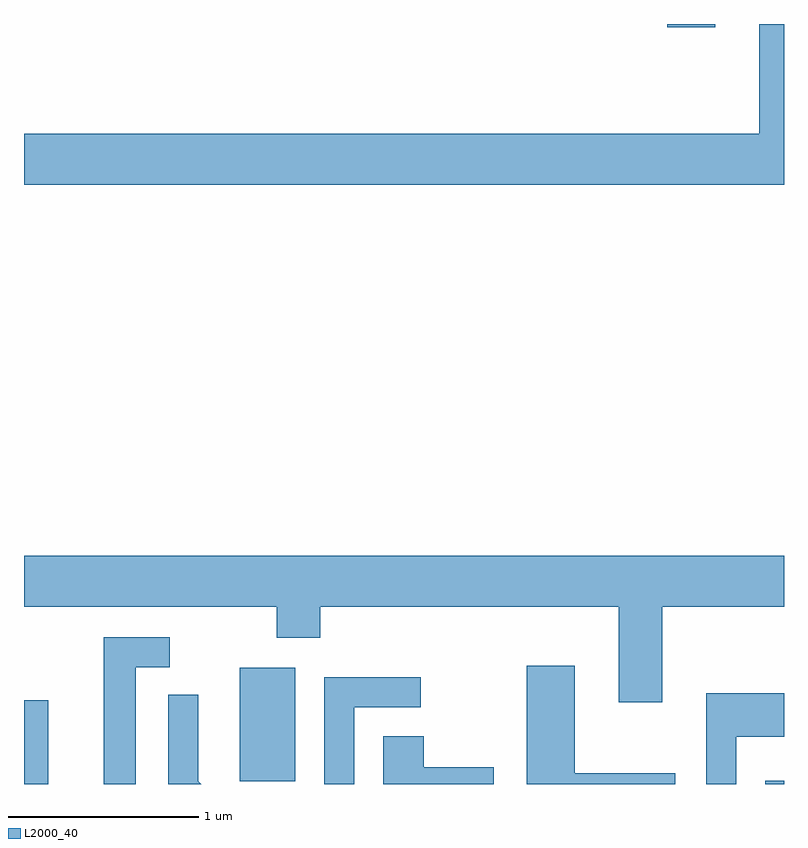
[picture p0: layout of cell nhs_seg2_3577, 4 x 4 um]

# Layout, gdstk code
import gdstk
lib = gdstk.Library(unit=1e-6, precision=1e-09)
def R(c, l, rs):  # rectangles x0, y0, x1, y1
    for r in rs: c.add(gdstk.rectangle(r[:2], r[2:], *l))
def P(c, l, *ps):  # polygons
    for p in ps: c.add(gdstk.Polygon(p, *l))
L2000_40 = (2000, 40)

nhs_seg2_3577 = lib.new_cell('nhs_seg2_3577')
R(nhs_seg2_3577, L2000_40, [(289.611,1071.802,289.739,1072.244), (293.511,1071.802,293.611,1071.819), (290.746,1071.816,291.039,1072.414), (292.996,1075.786,293.249,1075.802)])
P(nhs_seg2_3577, L2000_40, [(293.611,1075.802),(293.481,1075.802),(293.481,1075.224),(289.611,1075.224),(289.611,1074.956),(293.611,1074.956)],
  [(292.969,1072.736),(293.611,1072.736),(293.611,1073.004),(289.611,1073.004),(289.611,1072.736),(290.941,1072.736),(290.941,1072.571),(291.169,1072.571),(291.169,1072.736),(292.741,1072.736),(292.741,1072.231),(292.969,1072.231)],
  [(290.199,1072.416),(290.378,1072.416),(290.378,1072.574),(290.031,1072.574),(290.031,1071.802),(290.199,1071.802)],
  [(293.039,1071.859),(292.509,1071.859),(292.509,1072.424),(292.256,1072.424),(292.256,1071.802),(293.039,1071.802)],
  [(291.349,1072.206),(291.698,1072.206),(291.698,1072.364),(291.191,1072.364),(291.191,1071.802),(291.349,1071.802)],
  [(293.359,1072.051),(293.611,1072.051),(293.611,1072.279),(293.201,1072.279),(293.201,1071.802),(293.359,1071.802)],
  [(290.529,1071.817),(290.529,1072.273),(290.371,1072.273),(290.371,1071.802),(290.544,1071.802)],
  [(292.084,1071.889),(291.714,1071.889),(291.714,1072.054),(291.501,1072.054),(291.501,1071.802),(292.084,1071.802)])

lib.write_gds('nhs_seg2_3577.gds')
